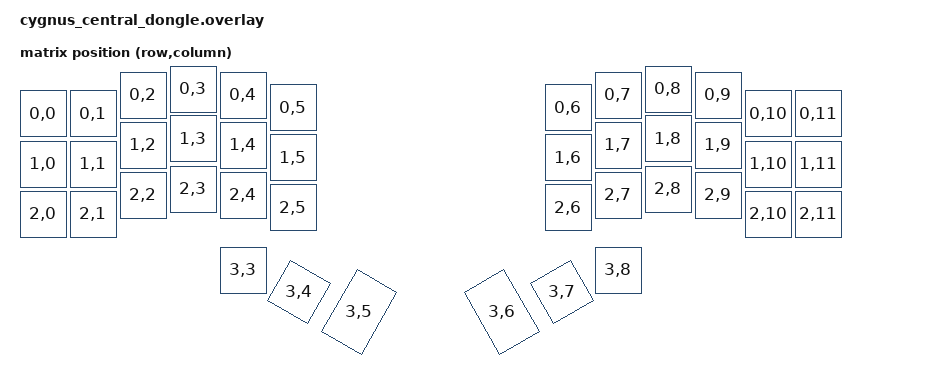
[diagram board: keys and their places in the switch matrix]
/*
 * Copyright (c) 2020 The ZMK Contributors
 *
 * SPDX-License-Identifier: MIT
 */
#include <dt-bindings/zmk/matrix_transform.h>
#include <physical_layouts.dtsi>
/ {
    chosen {
        zmk,kscan = &mock_kscan;
        zephyr,display = &oled;
    };

    default_transform: keymap_transform_0 {
        compatible = "zmk,matrix-transform";
        columns = <12>;
        rows = <4>;
        map = <
	 RC(0,0) RC(0,1) RC(0,2) RC(0,3) RC(0,4) RC(0,5)    RC(0,6) RC(0,7) RC(0,8) RC(0,9) RC(0,10) RC(0,11)
	 RC(1,0) RC(1,1) RC(1,2) RC(1,3) RC(1,4) RC(1,5)    RC(1,6) RC(1,7) RC(1,8) RC(1,9) RC(1,10) RC(1,11)
	 RC(2,0) RC(2,1) RC(2,2) RC(2,3) RC(2,4) RC(2,5)    RC(2,6) RC(2,7) RC(2,8) RC(2,9) RC(2,10) RC(2,11)
					         RC(3,3) RC(3,4) RC(3,5)    RC(3,6) RC(3,7)RC(3,8)
        >;
    };

    mock_kscan: kscan_0 {
        compatible = "zmk,kscan-mock";
        columns = <0>;
        rows = <0>;
        events = <0>;
    };

    cygnus: cygnus {
        compatible = "zmk,physical-layout";
        display-name = "Default";

        kscan = <&mock_kscan>;
        transform = <&default_transform>;

        keys  //                     w   h    x    y     rot   rx   ry
            = <&key_physical_attrs 100 100    0   49       0    0    0>
            , <&key_physical_attrs 100 100  100   49       0    0    0>
            , <&key_physical_attrs 100 100  200   12       0    0    0>
            , <&key_physical_attrs 100 100  300    0       0    0    0>
            , <&key_physical_attrs 100 100  400   12       0    0    0>
            , <&key_physical_attrs 100 100  500   37       0    0    0>
            , <&key_physical_attrs 100 100 1050   37       0    0    0>
            , <&key_physical_attrs 100 100 1150   12       0    0    0>
            , <&key_physical_attrs 100 100 1250    0       0    0    0>
            , <&key_physical_attrs 100 100 1350   12       0    0    0>
            , <&key_physical_attrs 100 100 1450   49       0    0    0>
            , <&key_physical_attrs 100 100 1550   49       0    0    0>
            , <&key_physical_attrs 100 100    0  150       0    0    0>
            , <&key_physical_attrs 100 100  100  150       0    0    0>
            , <&key_physical_attrs 100 100  200  112       0    0    0>
            , <&key_physical_attrs 100 100  300   99       0    0    0>
            , <&key_physical_attrs 100 100  400  112       0    0    0>
            , <&key_physical_attrs 100 100  500  137       0    0    0>
            , <&key_physical_attrs 100 100 1050  137       0    0    0>
            , <&key_physical_attrs 100 100 1150  112       0    0    0>
            , <&key_physical_attrs 100 100 1250   99       0    0    0>
            , <&key_physical_attrs 100 100 1350  112       0    0    0>
            , <&key_physical_attrs 100 100 1450  150       0    0    0>
            , <&key_physical_attrs 100 100 1550  150       0    0    0>
            , <&key_physical_attrs 100 100    0  250       0    0    0>
            , <&key_physical_attrs 100 100  100  250       0    0    0>
            , <&key_physical_attrs 100 100  200  212       0    0    0>
            , <&key_physical_attrs 100 100  300  200       0    0    0>
            , <&key_physical_attrs 100 100  400  212       0    0    0>
            , <&key_physical_attrs 100 100  500  237       0    0    0>
            , <&key_physical_attrs 100 100 1050  237       0    0    0>
            , <&key_physical_attrs 100 100 1150  212       0    0    0>
            , <&key_physical_attrs 100 100 1250  200       0    0    0>
            , <&key_physical_attrs 100 100 1350  212       0    0    0>
            , <&key_physical_attrs 100 100 1450  250       0    0    0>
            , <&key_physical_attrs 100 100 1550  250       0    0    0>
            , <&key_physical_attrs 100 100  400  362       0    0    0>
            , <&key_physical_attrs 100 100  550  362    3000  500  362>
            , <&key_physical_attrs 100 150  675  312    3000  500  362>
            , <&key_physical_attrs 100 150  875  312 (-3000) 1150  362>
            , <&key_physical_attrs 100 100 1000  362 (-3000) 1150  362>
            , <&key_physical_attrs 100 100 1150  362       0    0    0>
            ;
    };
};

/*  the default oled is 0.96 inch if you use 1.3 inch oled with 1106 drive you should use this definition */
&pro_micro_i2c {
    status = "okay";
    oled: sh1106@3c {
        compatible = "sinowealth,sh1106";
        reg = <0x3c>;
        width = <129>;
        height = <64>;
        segment-offset = <1>;
        page-offset = <0>;
        display-offset = <0>;
        multiplex-ratio = <63>;
        segment-remap;
        com-invdir;
        inversion-on;
        prechargep = <0x22>;
        };
}; 


/*
* &pro_micro_i2c {
*     status = "okay";
*     oled: ssd1306@3c {
*         compatible = "solomon,ssd1306fb";
*         reg = <0x3c>;
*         width = <128>;
*         height = <64>;
*         segment-offset = <0>;
*         page-offset = <0>;
*         display-offset = <0>;
*         multiplex-ratio = <63>;
*         segment-remap;
*         com-invdir;
*         inversion-on;
*         prechargep = <0x22>;
*     };
* }; 
*/
